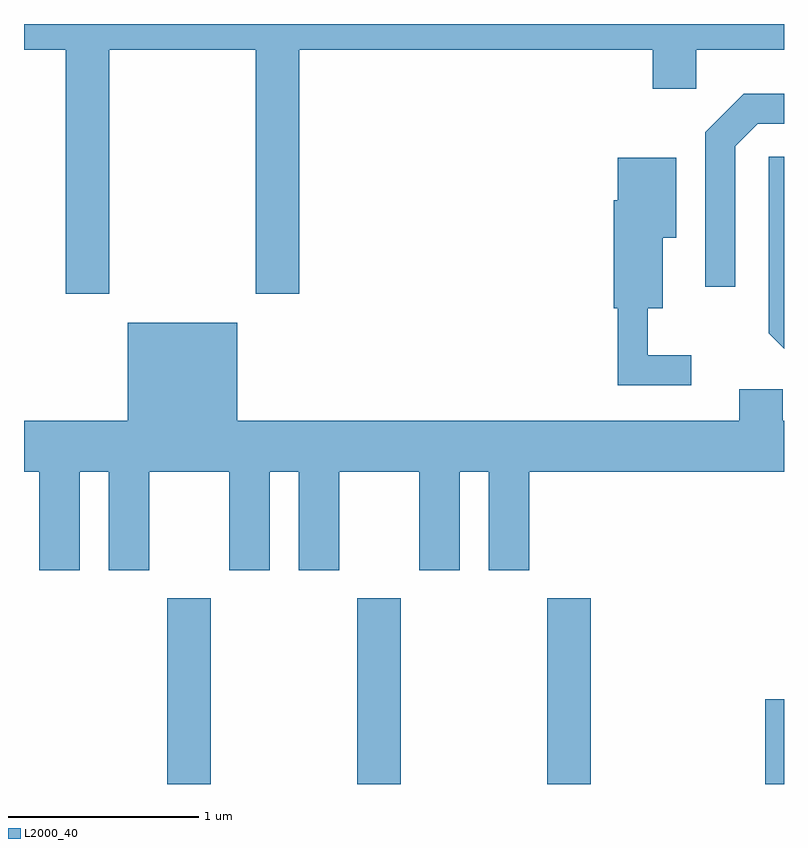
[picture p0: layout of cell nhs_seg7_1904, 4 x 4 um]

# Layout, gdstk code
import gdstk
lib = gdstk.Library(unit=1e-6, precision=1e-09)
def R(c, l, rs):  # rectangles x0, y0, x1, y1
    for r in rs: c.add(gdstk.rectangle(r[:2], r[2:], *l))
def A(c, l, x, y, w, h, nx, ny, dx, dy):  # array of equal rectangles
    R(c, l, [(x+i*dx, y+j*dy, x+i*dx+w, y+j*dy+h) for i in range(nx) for j in range(ny)])
def P(c, l, *ps):  # polygons
    for p in ps: c.add(gdstk.Polygon(p, *l))
L2000_40 = (2000, 40)

nhs_seg7_1904 = lib.new_cell('nhs_seg7_1904')
A(nhs_seg7_1904, L2000_40, 244.366, 1688.252, 0.228, 0.977, 3, 1, 1, 0)
R(nhs_seg7_1904, L2000_40, [(247.511,1688.252,247.611,1688.699)])
P(nhs_seg7_1904, L2000_40, [(243.611,1692.116),(243.831,1692.116),(243.831,1690.831),(244.059,1690.831),(244.059,1692.116),(244.831,1692.116),(244.831,1690.831),(245.059,1690.831),(245.059,1692.116),(246.921,1692.116),(246.921,1691.911),(247.149,1691.911),(247.149,1692.116),(247.611,1692.116),(247.611,1692.252),(243.611,1692.252)],
  [(247.354,1691.609),(247.472,1691.726),(247.611,1691.726),(247.611,1691.884),(247.399,1691.884),(247.196,1691.682),(247.196,1690.868),(247.354,1690.868)],
  [(247.611,1691.554),(247.531,1691.554),(247.531,1690.624),(247.611,1690.544)],
  [(247.123,1690.509),(246.894,1690.509),(246.894,1690.756),(246.974,1690.756),(246.974,1691.126),(247.044,1691.126),(247.044,1691.549),(246.736,1691.549),(246.736,1691.324),(246.716,1691.324),(246.716,1690.756),(246.736,1690.756),(246.736,1690.351),(247.123,1690.351)],
  [(243.904,1689.896),(244.056,1689.896),(244.056,1689.376),(244.269,1689.376),(244.269,1689.896),(244.691,1689.896),(244.691,1689.376),(244.904,1689.376),(244.904,1689.896),(245.056,1689.896),(245.056,1689.376),(245.269,1689.376),(245.269,1689.896),(245.691,1689.896),(245.691,1689.376),(245.904,1689.376),(245.904,1689.896),(246.056,1689.896),(246.056,1689.376),(246.269,1689.376),(246.269,1689.896),(247.611,1689.896),(247.611,1690.164),(247.604,1690.164),(247.604,1690.329),(247.376,1690.329),(247.376,1690.164),(244.734,1690.164),(244.734,1690.679),(244.156,1690.679),(244.156,1690.164),(243.611,1690.164),(243.611,1689.896),(243.691,1689.896),(243.691,1689.376),(243.904,1689.376)])

lib.write_gds('nhs_seg7_1904.gds')
